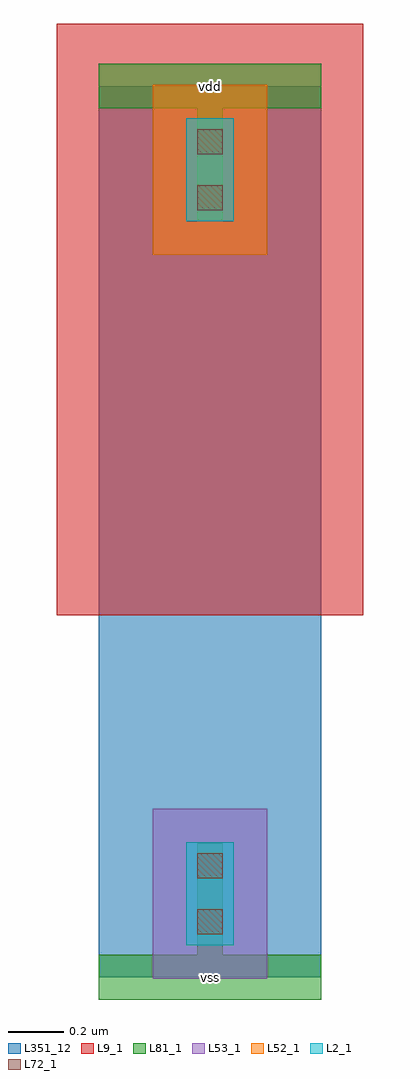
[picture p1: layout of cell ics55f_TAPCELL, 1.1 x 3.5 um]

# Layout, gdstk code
import gdstk
lib = gdstk.Library(unit=1e-6, precision=1e-09)
def R(c, l, rs):  # rectangles x0, y0, x1, y1
    for r in rs: c.add(gdstk.rectangle(r[:2], r[2:], *l))
L2_1 = (2, 1)
L9_1 = (9, 1)
L52_1 = (52, 1)
L53_1 = (53, 1)
L72_1 = (72, 1)
L81_1 = (81, 1)
L351_12 = (351, 12)

ics55f_tapcell = lib.new_cell('ics55f_TAPCELL')
R(ics55f_tapcell, L2_1, [(0.315,0.115,0.485,0.485), (0.315,2.715,0.485,3.085)])
R(ics55f_tapcell, L9_1, [(-0.15,1.3,0.95,3.425)])
R(ics55f_tapcell, L52_1, [(0.195,2.595,0.605,3.205)])
R(ics55f_tapcell, L53_1, [(0.195,-0.005,0.605,0.605)])
R(ics55f_tapcell, L72_1, [(0.355,0.155,0.445,0.245), (0.355,0.355,0.445,0.445), (0.355,2.755,0.445,2.845), (0.355,2.955,0.445,3.045)])
R(ics55f_tapcell, L81_1, [(0,-0.08,0.8,0.08), (0.355,0,0.445,0.485), (0.355,2.715,0.445,3.2), (0,3.12,0.8,3.28)])
R(ics55f_tapcell, L351_12, [(0,0,0.8,3.2)])
ics55f_tapcell.add(gdstk.Label('vss', (0.4,0), layer=81, texttype=6))
ics55f_tapcell.add(gdstk.Label('vdd', (0.4,3.2), layer=81, texttype=6))

lib.write_gds('ics55f_TAPCELL.gds')
